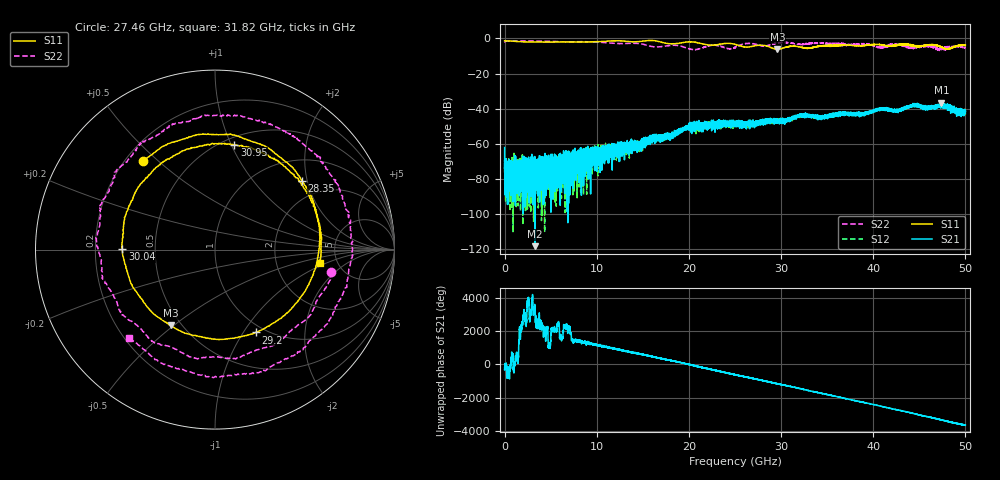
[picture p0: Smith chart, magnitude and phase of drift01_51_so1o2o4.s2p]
!Created with skrf (http://scikit-rf.org).
# Hz S RI R 50.0
!freq ReS11 ImS11 ReS21 ImS21 ReS12 ImS12 ReS22 ImS22
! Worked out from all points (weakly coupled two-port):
!   10001 points, 300 kHz to 50 GHz, reference 50 ohm
!   highest |S21| = -36.63 dB at 47.39 GHz (marker M1); lowest = -118.4 dB at 3.32 GHz (marker M2)
!   lowest |S11| = -6.2 dB at 29.6 GHz (marker M3), VSWR 2.91, Z = 22 - j24.4 ohm
!   |S11| at or under -10 dB: nowhere
!   |S22| runs from -7.1 to -1.4 dB; largest |S21 - S12| = 0.0042
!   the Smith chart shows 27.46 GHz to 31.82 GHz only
!   S11 on the Smith chart (normalised r, x): 27.46 GHz: 0.27, +0.45; 28.35 GHz: 1.50, +1.86; 29.2 GHz: 0.91, -1.14; 30.04 GHz: 0.32, +0.00; 30.95 GHz: 0.57, +1.03; 31.82 GHz: 3.64, -0.86
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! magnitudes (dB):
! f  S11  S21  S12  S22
! 300 kHz  -1.3  -62.2  -73.6  -2.1
! 275.3 MHz  -1.4  -70.1  -84.6  -1.4
! 3.32 GHz  -2.0  -118.4  -76.1  -1.5
! 4.79 GHz  -2.1  -72.3  -68.2  -1.6
! 8.335 GHz  -2.0  -70.6  -68.9  -1.8
! 10.73 GHz  -1.7  -67.8  -66.4  -2.3
! 16.67 GHz  -1.7  -56.3  -55.9  -4.8
! 18.64 GHz  -2.9  -53.4  -54.1  -3.9
! 20.3 GHz  -1.9  -50.5  -49.3  -6.2
! 22.6 GHz  -3.9  -48.8  -50.8  -3.8
! 25 GHz  -3.3  -47.9  -48.2  -5.2
! 27.46 GHz  -3.9  -49.6  -47.7  -3.6
! 28.35 GHz  -4.2  -46.9  -46.9  -4.2
! 29.2 GHz  -5.8  -48.0  -47.1  -3.2
! 29.6 GHz  -6.2  -46.4  -46.8  -2.6
! 30.04 GHz  -5.7  -47.7  -47.1  -2.3
! 30.95 GHz  -4.5  -46.5  -46.5  -2.5
! 31.82 GHz  -4.6  -44.3  -43.7  -3.3
! 33.34 GHz  -5.3  -43.9  -44.5  -2.7
! 41.67 GHz  -4.3  -39.9  -40.4  -4.4
! 47.39 GHz  -4.9  -36.6  -38.9  -5.6
! 50 GHz  -3.9  -41.4  -42.2  -5.4
